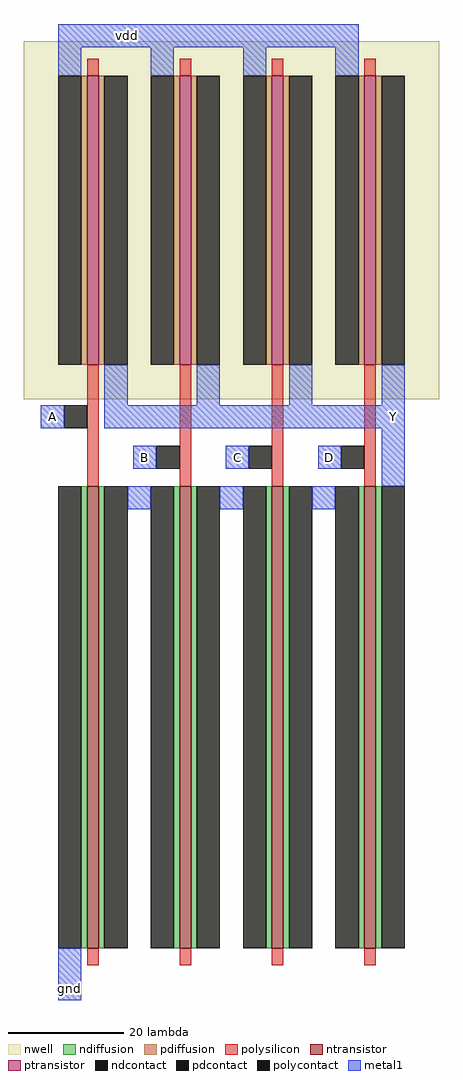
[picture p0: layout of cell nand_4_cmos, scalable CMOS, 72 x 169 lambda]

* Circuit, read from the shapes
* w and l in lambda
.subckt nand_4_cmos A B C D Y gnd vdd
M1 n1 A gnd VSUBS nfet w=80 l=2
M2 n2 B n1 VSUBS nfet w=80 l=2
M3 n3 C n2 VSUBS nfet w=80 l=2
M4 Y D n3 VSUBS nfet w=80 l=2
M5 Y A vdd n4 pfet w=50 l=2
M6 Y B vdd n4 pfet w=50 l=2
M7 Y C vdd n4 pfet w=50 l=2
M8 Y D vdd n4 pfet w=50 l=2
.ends

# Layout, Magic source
magic
tech scmos
<< nwell >>
rect -6 -6 66 56
<< ntransistor >>
rect 5 -101 7 -21
rect 21 -101 23 -21
rect 37 -101 39 -21
rect 53 -101 55 -21
<< ptransistor >>
rect 5 0 7 50
rect 21 0 23 50
rect 37 0 39 50
rect 53 0 55 50
<< ndiffusion >>
rect 4 -101 5 -21
rect 7 -101 8 -21
rect 20 -101 21 -21
rect 23 -101 24 -21
rect 36 -101 37 -21
rect 39 -101 40 -21
rect 52 -101 53 -21
rect 55 -101 56 -21
<< pdiffusion >>
rect 4 0 5 50
rect 7 0 8 50
rect 20 0 21 50
rect 23 0 24 50
rect 36 0 37 50
rect 39 0 40 50
rect 52 0 53 50
rect 55 0 56 50
<< ndcontact >>
rect 0 -101 4 -21
rect 8 -101 12 -21
rect 16 -101 20 -21
rect 24 -101 28 -21
rect 32 -101 36 -21
rect 40 -101 44 -21
rect 48 -101 52 -21
rect 56 -101 60 -21
<< pdcontact >>
rect 0 0 4 50
rect 8 0 12 50
rect 16 0 20 50
rect 24 0 28 50
rect 32 0 36 50
rect 40 0 44 50
rect 48 0 52 50
rect 56 0 60 50
<< polysilicon >>
rect 5 50 7 53
rect 21 50 23 53
rect 37 50 39 53
rect 53 50 55 53
rect 5 -21 7 0
rect 21 -21 23 0
rect 37 -21 39 0
rect 53 -21 55 0
rect 5 -104 7 -101
rect 21 -104 23 -101
rect 37 -104 39 -101
rect 53 -104 55 -101
<< polycontact >>
rect 1 -11 5 -7
rect 17 -18 21 -14
rect 33 -18 37 -14
rect 49 -18 53 -14
<< metal1 >>
rect 0 55 52 59
rect 0 50 4 55
rect 16 50 20 55
rect 32 50 36 55
rect 48 50 52 55
rect 8 -7 12 0
rect 24 -7 28 0
rect 40 -7 44 0
rect 56 -7 60 0
rect -3 -11 1 -7
rect 8 -11 60 -7
rect 13 -18 17 -14
rect 29 -18 33 -14
rect 45 -18 49 -14
rect 56 -21 60 -11
rect 12 -25 16 -21
rect 28 -25 32 -21
rect 44 -25 48 -21
rect 0 -110 4 -101
<< labels >>
rlabel metal1 10 55 14 59 5 vdd
rlabel metal1 -3 -11 1 -7 1 A
rlabel metal1 13 -18 17 -14 1 B
rlabel metal1 29 -18 33 -14 1 C
rlabel metal1 45 -18 49 -14 1 D
rlabel metal1 0 -110 4 -106 1 gnd
rlabel metal1 56 -11 60 -7 1 Y
<< end >>
